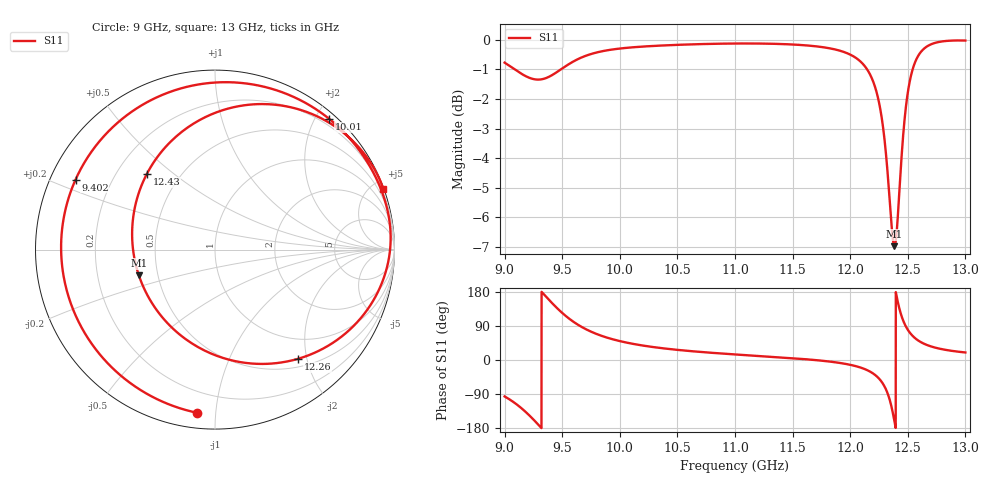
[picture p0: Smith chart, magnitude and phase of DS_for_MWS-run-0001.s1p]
! TOUCHSTONE file generated by CST DESIGN STUDIO
! Date and time: Wed Feb  5 13:21:42 2025
! Project name: C:\Work\MatlabApps\UnitCellOptimizationMatlab\CST\unitcell.cst
! Tree item: Tasks\Sweep1\SPara1\S-Parameters
! Header version: 2024
! Port assignment regex: !\s*Touchstone port\s*([0-9]+)\s*=\s*(CST MWS port|CST DES external port|CST DES block port)\s*(.+)\s* \(\"(.*)\"\)(\s*mode\s*([0-9]+))?.*
! Touchstone port assignment:
! Touchstone port 1 = CST DES external port 1 ("")
# GHz S MA R 50
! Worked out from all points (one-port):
!   4001 points, 9 GHz to 13 GHz, reference 50 ohm
!   lowest |S11| = -7.0 dB at 12.38 GHz (marker M1), VSWR 2.62, Z = 19.5 - j6.96 ohm
!   |S11| at or under -10 dB: nowhere
!   S11 on the Smith chart (normalised r, x): 9 GHz: 0.08, -0.89; 9.402 GHz: 0.07, +0.24; 10.01 GHz: 0.10, +2.20; 12.26 GHz: 0.63, -1.84; 12.43 GHz: 0.33, +0.40; 13 GHz: 0.05, +5.71
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9  0.9148 -96.1
9.096  0.8887 -115.2
9.183  0.868 -137.1
9.299  0.8565 -172.8
9.402  0.8693 153.3
9.5  0.8943 124.3
9.581  0.9153 104.4
9.674  0.9346 86.4
9.824  0.9543 65.7
10  0.9665 49.9
10.014  0.9671 48.9
10.5  0.9805 26.7
11  0.9856 14.7
11.5  0.9818 4.7
12  0.944 -12.7
12.161  0.882 -28.8
12.261  0.764 -52.8
12.33  0.5783 -92.5
12.356  0.4938 -120.1
12.384  0.4478 -161.4
12.407  0.4825 162.1
12.43  0.5671 132.1
12.463  0.7014 101.8
12.5  0.8141 79.8
12.571  0.9239 55.7
12.661  0.9729 40.2
12.793  0.9933 28.7
13  0.997 19.9
